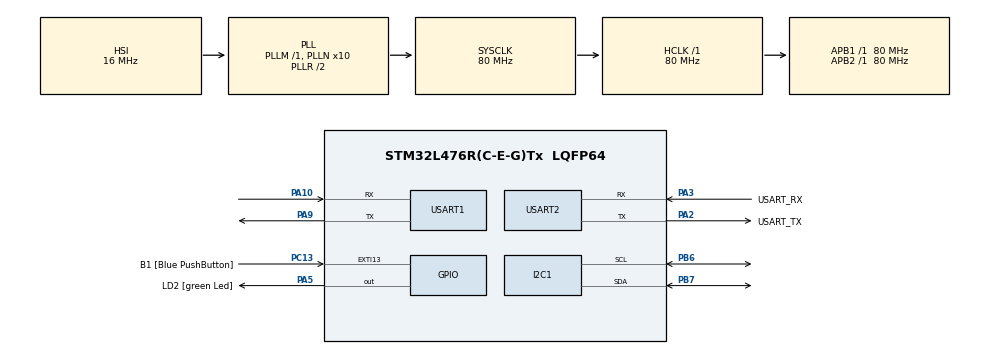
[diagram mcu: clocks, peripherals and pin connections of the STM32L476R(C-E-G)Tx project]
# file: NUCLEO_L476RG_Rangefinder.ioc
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I2C1.Timing=0x10D19CE4
Mcu.Family=STM32L4
Mcu.Name=STM32L476R(C-E-G)Tx
Mcu.Package=LQFP64
NVIC.PriorityGroup=NVIC_PRIORITYGROUP_4
PA10.Mode=Asynchronous
PA10.Signal=USART1_RX
PA13\ (JTMS-SWDIO).GPIO_Label=TMS
PA13\ (JTMS-SWDIO).Mode=Serial_Wire
PA13\ (JTMS-SWDIO).Signal=SYS_JTMS-SWDIO
PA14\ (JTCK-SWCLK).GPIO_Label=TCK
PA14\ (JTCK-SWCLK).Mode=Serial_Wire
PA14\ (JTCK-SWCLK).Signal=SYS_JTCK-SWCLK
PA2.GPIO_Label=USART_TX
PA2.GPIO_Mode=GPIO_MODE_AF_PP
PA2.GPIO_PuPd=GPIO_NOPULL
PA2.GPIO_Speed=GPIO_SPEED_FREQ_VERY_HIGH
PA2.Mode=Asynchronous
PA2.Signal=USART2_TX
PA3.GPIO_Label=USART_RX
PA3.GPIO_Mode=GPIO_MODE_AF_PP
PA3.GPIO_PuPd=GPIO_NOPULL
PA3.GPIO_Speed=GPIO_SPEED_FREQ_VERY_HIGH
PA3.Mode=Asynchronous
PA3.Signal=USART2_RX
PA5.GPIO_Label=LD2 [green Led]
PA5.GPIO_ModeDefaultOutputPP=GPIO_MODE_OUTPUT_PP
PA5.GPIO_PuPd=GPIO_NOPULL
PA5.GPIO_Speed=GPIO_SPEED_FREQ_LOW
PA5.Signal=GPIO_Output
PA9.Mode=Asynchronous
PA9.Signal=USART1_TX
PB3\ (JTDO-TRACESWO).GPIO_Label=SWO
PB3\ (JTDO-TRACESWO).Signal=SYS_JTDO-SWO
PB6.Mode=I2C
PB6.Signal=I2C1_SCL
PB7.Mode=I2C
PB7.Signal=I2C1_SDA
PC13.GPIO_Label=B1 [Blue PushButton]
PC13.GPIO_ModeDefaultEXTI=GPIO_MODE_IT_FALLING
PC13.GPIO_PuPd=GPIO_NOPULL
PC13.Signal=GPXTI13
PC14-OSC32_IN\ (PC14).Mode=LSE-External-Oscillator
PC14-OSC32_IN\ (PC14).Signal=RCC_OSC32_IN
PC15-OSC32_OUT\ (PC15).Mode=LSE-External-Oscillator
PC15-OSC32_OUT\ (PC15).Signal=RCC_OSC32_OUT
PH0-OSC_IN\ (PH0).Signal=RCC_OSC_IN
PH1-OSC_OUT\ (PH1).Signal=RCC_OSC_OUT
ProjectManager.HeapSize=0x200
ProjectManager.StackSize=0x400
ProjectManager.TargetToolchain=STM32CubeIDE
RCC.ADCFreq_Value=64000000
RCC.AHBFreq_Value=80000000
RCC.APB1Freq_Value=80000000
RCC.APB1TimFreq_Value=80000000
RCC.APB2Freq_Value=80000000
RCC.APB2TimFreq_Value=80000000
RCC.CortexFreq_Value=80000000
RCC.HCLKFreq_Value=80000000
RCC.HSE_VALUE=8000000
RCC.HSI_VALUE=16000000
RCC.MSI_VALUE=4000000
RCC.PLLN=10
RCC.PLLSourceVirtual=RCC_PLLSOURCE_HSI
RCC.PREFETCH_ENABLE=1
RCC.SYSCLKFreq_VALUE=80000000
RCC.SYSCLKSource=RCC_SYSCLKSOURCE_PLLCLK
RCC.USBFreq_Value=64000000
RCC.VCOOutputFreq_Value=160000000
USART1.VirtualMode-Asynchronous=VM_ASYNC
USART2.VirtualMode-Asynchronous=VM_ASYNC
board=NUCLEO-L476RG

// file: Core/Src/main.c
/* USER CODE BEGIN Header */
/**
  ******************************************************************************
  * @file           : main.c
  * @brief          : Main program body
  ******************************************************************************
  * @attention
  *
  * Copyright (c) 2026 STMicroelectronics.
  * All rights reserved.
  *
  * This software is licensed under terms that can be found in the LICENSE file
  * in the root directory of this software component.
  * If no LICENSE file comes with this software, it is provided AS-IS.
  *
  ******************************************************************************
  */
/* USER CODE END Header */
#include "main.h"
#include "ssd1306.h"
#include "ssd1306_fonts.h"
#include <stdio.h>

I2C_HandleTypeDef hi2c1;

UART_HandleTypeDef huart1;
UART_HandleTypeDef huart2;

void SystemClock_Config(void);
static void MX_GPIO_Init(void);
static void MX_USART1_UART_Init(void);
static void MX_USART2_UART_Init(void);
static void MX_I2C1_Init(void);

int main(void)
{

  /* MCU Configuration--------------------------------------------------------*/

  /* Reset of all peripherals, Initializes the Flash interface and the Systick. */
  HAL_Init();

  /* Configure the system clock */
  SystemClock_Config();

  /* Initialize all configured peripherals */
  MX_GPIO_Init();
  MX_USART1_UART_Init();
  MX_USART2_UART_Init();
  MX_I2C1_Init();
  /* USER CODE BEGIN 2 */

  // Init display
  ssd1306_Init();

  // Clear screen
  ssd1306_Fill(Black);

  ssd1306_SetCursor(0,0);
  ssd1306_WriteString("Rangefinder", Font_11x18, White);

  ssd1306_SetCursor(0,24);
  ssd1306_WriteString("Ready...", Font_11x18, White);

  // Update Screen
  ssd1306_UpdateScreen();
  HAL_Delay(2000);
  ssd1306_Fill(Black);

  /* USER CODE END 2 */

  /* Infinite loop */
  while (1)
  {

    /* USER CODE BEGIN 3 */

	  uint8_t byte;

	  if (HAL_UART_Receive(&huart1,&byte,1,100) != HAL_OK) continue;
	  if (byte != 0x59) continue;

	  if (HAL_UART_Receive(&huart1,&byte,1,100) != HAL_OK) continue;
	  if (byte != 0x59) continue;

	  uint8_t frame[7];
	  frame[0]=0x59;
	  frame[1]=0x59;

	  if (HAL_UART_Receive(&huart1,&frame[2],7,100) != HAL_OK) continue;

	  uint8_t checksum = 0;
	  for (int i = 0; i < 8; i++) checksum += frame[i];
	  if (checksum != frame[8]) continue;

	  uint16_t dst_cm = frame[2] + (frame[3] << 8);
	  uint16_t strength = frame[4] + (frame[5] << 8);

	  uint16_t meter_w = dst_cm / 100;
	  uint16_t meter_dec = dst_cm % 100;

	  uint16_t yard_w = (dst_cm *100) / 9144;
	  uint16_t yard_dec = ((dst_cm * 10000) / 9144) % 100;

	  char msg_top[64];
	  char msg_middle[64];
	  char msg_bottom[64];

	  if(strength < 100){
		  sprintf (msg_bottom, "Signal Weak \r\n");
	  }
	  else if(strength > 500){
		  sprintf (msg_bottom, "Signal Strong \r\n");
	  }
	  else {
		  sprintf (msg_bottom, "Signal Ok \r\n");
	  }

	  sprintf (msg_top, "%u.%02u m \r\n", meter_w, meter_dec);
	  sprintf (msg_middle, "%u.%02u yd \r\n", yard_w, yard_dec);

	  //printf(msg);

	  ssd1306_Fill(Black);
	  ssd1306_SetCursor(0,0);
	  ssd1306_WriteString(msg_top, Font_11x18, White);
	  ssd1306_SetCursor(0,22);
	  ssd1306_WriteString(msg_middle, Font_11x18, White);
	  ssd1306_SetCursor(0,50);
	  ssd1306_WriteString(msg_bottom, Font_7x10, White);
	  ssd1306_UpdateScreen();

	  //HAL_UART_Transmit(&huart2, (uint8_t*)msg, strlen(msg), 100);

  }
  /* USER CODE END 3 */
}

void SystemClock_Config(void)
{
  RCC_OscInitTypeDef RCC_OscInitStruct = {0};
  RCC_ClkInitTypeDef RCC_ClkInitStruct = {0};

  /** Configure the main internal regulator output voltage
  */
  if (HAL_PWREx_ControlVoltageScaling(PWR_REGULATOR_VOLTAGE_SCALE1) != HAL_OK)
  {
    Error_Handler();
  }

  /** Initializes the RCC Oscillators according to the specified parameters
  * in the RCC_OscInitTypeDef structure.
  */
  RCC_OscInitStruct.OscillatorType = RCC_OSCILLATORTYPE_HSI;
  RCC_OscInitStruct.HSIState = RCC_HSI_ON;
  RCC_OscInitStruct.HSICalibrationValue = RCC_HSICALIBRATION_DEFAULT;
  RCC_OscInitStruct.PLL.PLLState = RCC_PLL_ON;
  RCC_OscInitStruct.PLL.PLLSource = RCC_PLLSOURCE_HSI;
  RCC_OscInitStruct.PLL.PLLM = 1;
  RCC_OscInitStruct.PLL.PLLN = 10;
  RCC_OscInitStruct.PLL.PLLP = RCC_PLLP_DIV7;
  RCC_OscInitStruct.PLL.PLLQ = RCC_PLLQ_DIV2;
  RCC_OscInitStruct.PLL.PLLR = RCC_PLLR_DIV2;
  if (HAL_RCC_OscConfig(&RCC_OscInitStruct) != HAL_OK)
  {
    Error_Handler();
  }

  /** Initializes the CPU, AHB and APB buses clocks
  */
  RCC_ClkInitStruct.ClockType = RCC_CLOCKTYPE_HCLK|RCC_CLOCKTYPE_SYSCLK
                              |RCC_CLOCKTYPE_PCLK1|RCC_CLOCKTYPE_PCLK2;
  RCC_ClkInitStruct.SYSCLKSource = RCC_SYSCLKSOURCE_PLLCLK;
  RCC_ClkInitStruct.AHBCLKDivider = RCC_SYSCLK_DIV1;
  RCC_ClkInitStruct.APB1CLKDivider = RCC_HCLK_DIV1;
  RCC_ClkInitStruct.APB2CLKDivider = RCC_HCLK_DIV1;

  if (HAL_RCC_ClockConfig(&RCC_ClkInitStruct, FLASH_LATENCY_4) != HAL_OK)
  {
    Error_Handler();
  }
}

static void MX_I2C1_Init(void)
{

  hi2c1.Instance = I2C1;
  hi2c1.Init.Timing = 0x10D19CE4;
  hi2c1.Init.OwnAddress1 = 0;
  hi2c1.Init.AddressingMode = I2C_ADDRESSINGMODE_7BIT;
  hi2c1.Init.DualAddressMode = I2C_DUALADDRESS_DISABLE;
  hi2c1.Init.OwnAddress2 = 0;
  hi2c1.Init.OwnAddress2Masks = I2C_OA2_NOMASK;
  hi2c1.Init.GeneralCallMode = I2C_GENERALCALL_DISABLE;
  hi2c1.Init.NoStretchMode = I2C_NOSTRETCH_DISABLE;
  if (HAL_I2C_Init(&hi2c1) != HAL_OK)
  {
    Error_Handler();
  }

  /** Configure Analogue filter
  */
  if (HAL_I2CEx_ConfigAnalogFilter(&hi2c1, I2C_ANALOGFILTER_ENABLE) != HAL_OK)
  {
    Error_Handler();
  }

  /** Configure Digital filter
  */
  if (HAL_I2CEx_ConfigDigitalFilter(&hi2c1, 0) != HAL_OK)
  {
    Error_Handler();
  }

}

static void MX_USART1_UART_Init(void)
{

  huart1.Instance = USART1;
  huart1.Init.BaudRate = 115200;
  huart1.Init.WordLength = UART_WORDLENGTH_8B;
  huart1.Init.StopBits = UART_STOPBITS_1;
  huart1.Init.Parity = UART_PARITY_NONE;
  huart1.Init.Mode = UART_MODE_TX_RX;
  huart1.Init.HwFlowCtl = UART_HWCONTROL_NONE;
  huart1.Init.OverSampling = UART_OVERSAMPLING_16;
  huart1.Init.OneBitSampling = UART_ONE_BIT_SAMPLE_DISABLE;
  huart1.AdvancedInit.AdvFeatureInit = UART_ADVFEATURE_NO_INIT;
  if (HAL_UART_Init(&huart1) != HAL_OK)
  {
    Error_Handler();
  }

}

static void MX_USART2_UART_Init(void)
{

  huart2.Instance = USART2;
  huart2.Init.BaudRate = 115200;
  huart2.Init.WordLength = UART_WORDLENGTH_8B;
  huart2.Init.StopBits = UART_STOPBITS_1;
  huart2.Init.Parity = UART_PARITY_NONE;
  huart2.Init.Mode = UART_MODE_TX_RX;
  huart2.Init.HwFlowCtl = UART_HWCONTROL_NONE;
  huart2.Init.OverSampling = UART_OVERSAMPLING_16;
  huart2.Init.OneBitSampling = UART_ONE_BIT_SAMPLE_DISABLE;
  huart2.AdvancedInit.AdvFeatureInit = UART_ADVFEATURE_NO_INIT;
  if (HAL_UART_Init(&huart2) != HAL_OK)
  {
    Error_Handler();
  }

}

static void MX_GPIO_Init(void)
{
  GPIO_InitTypeDef GPIO_InitStruct = {0};

  /* GPIO Ports Clock Enable */
  __HAL_RCC_GPIOC_CLK_ENABLE();
  __HAL_RCC_GPIOH_CLK_ENABLE();
  __HAL_RCC_GPIOA_CLK_ENABLE();
  __HAL_RCC_GPIOB_CLK_ENABLE();

  /*Configure GPIO pin Output Level */
  HAL_GPIO_WritePin(LD2_GPIO_Port, LD2_Pin, GPIO_PIN_RESET);

  /*Configure GPIO pin : B1_Pin */
  GPIO_InitStruct.Pin = B1_Pin;
  GPIO_InitStruct.Mode = GPIO_MODE_IT_FALLING;
  GPIO_InitStruct.Pull = GPIO_NOPULL;
  HAL_GPIO_Init(B1_GPIO_Port, &GPIO_InitStruct);

  /*Configure GPIO pin : LD2_Pin */
  GPIO_InitStruct.Pin = LD2_Pin;
  GPIO_InitStruct.Mode = GPIO_MODE_OUTPUT_PP;
  GPIO_InitStruct.Pull = GPIO_NOPULL;
  GPIO_InitStruct.Speed = GPIO_SPEED_FREQ_LOW;
  HAL_GPIO_Init(LD2_GPIO_Port, &GPIO_InitStruct);

}

void Error_Handler(void)
{
  __disable_irq();
  while (1)
  {
  }
}
